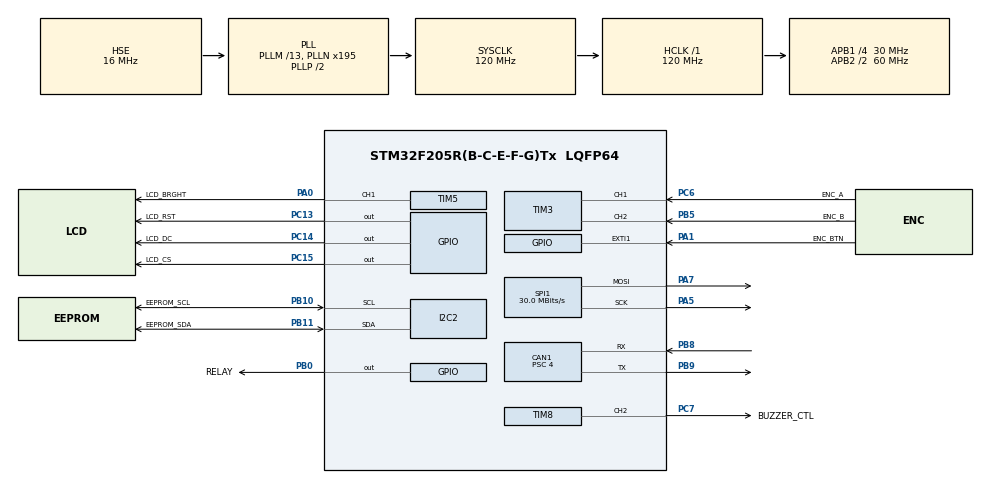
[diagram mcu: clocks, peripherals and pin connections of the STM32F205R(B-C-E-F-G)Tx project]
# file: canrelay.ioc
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CAN1.BS1=CAN_BS1_12TQ
CAN1.BS2=CAN_BS2_2TQ
CAN1.CalculateBaudRate=499999
CAN1.CalculateTimeBit=2000
CAN1.CalculateTimeQuantum=133.33333333333334
CAN1.Prescaler=4
Mcu.Family=STM32F2
Mcu.Name=STM32F205R(B-C-E-F-G)Tx
Mcu.Package=LQFP64
NVIC.CAN1_RX0_IRQn=true\:0\:0\:false\:false\:true\:true\:true\:true
NVIC.EXTI1_IRQn=true\:0\:0\:false\:false\:true\:true\:true\:true
NVIC.PriorityGroup=NVIC_PRIORITYGROUP_4
NVIC.TIM8_CC_IRQn=true\:0\:0\:false\:false\:true\:true\:true\:true
PA0-WKUP.GPIO_Label=LCD_BRGHT
PA0-WKUP.Signal=S_TIM5_CH1
PA1.GPIO_Label=ENC_BTN
PA1.GPIO_ModeDefaultEXTI=GPIO_MODE_IT_RISING_FALLING
PA1.Signal=GPXTI1
PA11.Signal=USB_OTG_FS_DM
PA12.Signal=USB_OTG_FS_DP
PA13.Mode=Serial_Wire
PA13.Signal=SYS_JTMS-SWDIO
PA14.Mode=Serial_Wire
PA14.Signal=SYS_JTCK-SWCLK
PA5.Mode=TX_Only_Simplex_Unidirect_Master
PA5.Signal=SPI1_SCK
PA7.Mode=TX_Only_Simplex_Unidirect_Master
PA7.Signal=SPI1_MOSI
PB0.GPIO_Label=RELAY
PB0.GPIO_PuPd=GPIO_PULLDOWN
PB0.GPIO_Speed=GPIO_SPEED_FREQ_VERY_HIGH
PB0.Signal=GPIO_Output
PB10.GPIO_Label=EEPROM_SCL
PB10.Mode=I2C
PB10.Signal=I2C2_SCL
PB11.GPIO_Label=EEPROM_SDA
PB11.Mode=I2C
PB11.Signal=I2C2_SDA
PB5.GPIO_Label=ENC_B
PB5.Signal=S_TIM3_CH2
PB8.Mode=CAN_Activate
PB8.Signal=CAN1_RX
PB9.Mode=CAN_Activate
PB9.Signal=CAN1_TX
PC13.GPIO_Label=LCD_RST
PC13.Signal=GPIO_Output
PC14-OSC32_IN.GPIO_Label=LCD_DC
PC14-OSC32_IN.Signal=GPIO_Output
PC15-OSC32_OUT.GPIO_Label=LCD_CS
PC15-OSC32_OUT.Signal=GPIO_Output
PC6.GPIO_Label=ENC_A
PC6.Signal=S_TIM3_CH1
PC7.GPIO_Label=BUZZER_CTL
PC7.Signal=S_TIM8_CH2
PH0-OSC_IN.Mode=HSE-External-Oscillator
PH0-OSC_IN.Signal=RCC_OSC_IN
PH1-OSC_OUT.Mode=HSE-External-Oscillator
PH1-OSC_OUT.Signal=RCC_OSC_OUT
ProjectManager.HeapSize=0x200
ProjectManager.StackSize=0x400
ProjectManager.TargetToolchain=STM32CubeIDE
RCC.48MHZClocksFreq_Value=48000000
RCC.AHBFreq_Value=120000000
RCC.APB1CLKDivider=RCC_HCLK_DIV4
RCC.APB1Freq_Value=30000000
RCC.APB1TimFreq_Value=60000000
RCC.APB2CLKDivider=RCC_HCLK_DIV2
RCC.APB2Freq_Value=60000000
RCC.APB2TimFreq_Value=120000000
RCC.CortexFreq_Value=120000000
RCC.HCLKFreq_Value=120000000
RCC.HSE_VALUE=16000000
RCC.HSI_VALUE=16000000
RCC.LSE_VALUE=32768
RCC.PLLM=13
RCC.PLLN=195
RCC.PLLQ=5
RCC.PLLSourceVirtual=RCC_PLLSOURCE_HSE
RCC.SYSCLKFreq_VALUE=120000000
RCC.SYSCLKSource=RCC_SYSCLKSOURCE_PLLCLK
RCC.VCOOutputFreq_Value=240000000
SH.S_TIM3_CH1.0=TIM3_CH1,Encoder_Interface
SH.S_TIM3_CH2.0=TIM3_CH2,Encoder_Interface
SH.S_TIM5_CH1.0=TIM5_CH1,PWM Generation1 CH1
SH.S_TIM8_CH2.0=TIM8_CH2,PWM Generation2 CH2
SPI1.BaudRatePrescaler=SPI_BAUDRATEPRESCALER_2
SPI1.CalculateBaudRate=30.0 MBits/s
SPI1.DataSize=SPI_DATASIZE_8BIT
SPI1.Direction=SPI_DIRECTION_2LINES
SPI1.Mode=SPI_MODE_MASTER
SPI1.VirtualType=VM_MASTER
TIM3.AutoReloadPreload=TIM_AUTORELOAD_PRELOAD_ENABLE
TIM3.EncoderMode=TIM_ENCODERMODE_TI12
TIM3.IC1Filter=5
TIM3.IC2Filter=5
TIM5.Channel-PWM\ Generation1\ CH1=TIM_CHANNEL_1
TIM5.Period=65535
TIM8.AutoReloadPreload=TIM_AUTORELOAD_PRELOAD_ENABLE
TIM8.Channel-PWM\ Generation2\ CH2=TIM_CHANNEL_2
TIM8.Period=999
TIM8.Prescaler=14
TIM8.Pulse-PWM\ Generation2\ CH2=499
board=custom

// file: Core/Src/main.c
/* USER CODE BEGIN Header */
/**
  ******************************************************************************
  * @file           : main.c
  * @brief          : Main program body
  ******************************************************************************
  * @attention
  *
  * Copyright (c) 2022 STMicroelectronics.
  * All rights reserved.
  *
  * This software is licensed under terms that can be found in the LICENSE file
  * in the root directory of this software component.
  * If no LICENSE file comes with this software, it is provided AS-IS.
  *
  ******************************************************************************
  */
/* USER CODE END Header */
#include "main.h"

/* USER CODE BEGIN Includes */
#include "../../lvgl/lvgl.h"
#include "lcd_lvgl.h"
#include "hw.h"
#include "ui.h"
#include "comm.h"
/* USER CODE END Includes */

CAN_HandleTypeDef hcan1;

I2C_HandleTypeDef hi2c2;

SPI_HandleTypeDef hspi1;

TIM_HandleTypeDef htim3;
TIM_HandleTypeDef htim5;
TIM_HandleTypeDef htim8;

void SystemClock_Config(void);
static void MX_GPIO_Init(void);
static void MX_SPI1_Init(void);
static void MX_TIM5_Init(void);
static void MX_CAN1_Init(void);
static void MX_TIM3_Init(void);
static void MX_TIM8_Init(void);
static void MX_I2C2_Init(void);

int main(void)
{

  /* MCU Configuration--------------------------------------------------------*/

  /* Reset of all peripherals, Initializes the Flash interface and the Systick. */
  HAL_Init();

  /* Configure the system clock */
  SystemClock_Config();

  /* Initialize all configured peripherals */
  MX_GPIO_Init();
  MX_SPI1_Init();
  MX_TIM5_Init();
  MX_CAN1_Init();
  MX_TIM3_Init();
  MX_TIM8_Init();
  MX_I2C2_Init();
  /* USER CODE BEGIN 2 */
  lv_init();
  HW_Init();
  LCD_Init();
  UI_Init();
  COMM_init();
  HW_LCDBacklightEnable();
  /* USER CODE END 2 */

  /* Infinite loop */
  /* USER CODE BEGIN WHILE */
  while (1)
  {
    HW_Tick();
    UI_Tick();
    LCD_Tick();
    /* USER CODE END WHILE */

  }
}

void SystemClock_Config(void)
{
  RCC_OscInitTypeDef RCC_OscInitStruct = {0};
  RCC_ClkInitTypeDef RCC_ClkInitStruct = {0};

  /** Initializes the RCC Oscillators according to the specified parameters
  * in the RCC_OscInitTypeDef structure.
  */
  RCC_OscInitStruct.OscillatorType = RCC_OSCILLATORTYPE_HSE;
  RCC_OscInitStruct.HSEState = RCC_HSE_ON;
  RCC_OscInitStruct.PLL.PLLState = RCC_PLL_ON;
  RCC_OscInitStruct.PLL.PLLSource = RCC_PLLSOURCE_HSE;
  RCC_OscInitStruct.PLL.PLLM = 13;
  RCC_OscInitStruct.PLL.PLLN = 195;
  RCC_OscInitStruct.PLL.PLLP = RCC_PLLP_DIV2;
  RCC_OscInitStruct.PLL.PLLQ = 5;
  if (HAL_RCC_OscConfig(&RCC_OscInitStruct) != HAL_OK)
  {
    Error_Handler();
  }

  /** Initializes the CPU, AHB and APB buses clocks
  */
  RCC_ClkInitStruct.ClockType = RCC_CLOCKTYPE_HCLK|RCC_CLOCKTYPE_SYSCLK
                              |RCC_CLOCKTYPE_PCLK1|RCC_CLOCKTYPE_PCLK2;
  RCC_ClkInitStruct.SYSCLKSource = RCC_SYSCLKSOURCE_PLLCLK;
  RCC_ClkInitStruct.AHBCLKDivider = RCC_SYSCLK_DIV1;
  RCC_ClkInitStruct.APB1CLKDivider = RCC_HCLK_DIV4;
  RCC_ClkInitStruct.APB2CLKDivider = RCC_HCLK_DIV2;

  if (HAL_RCC_ClockConfig(&RCC_ClkInitStruct, FLASH_LATENCY_3) != HAL_OK)
  {
    Error_Handler();
  }
}

static void MX_CAN1_Init(void)
{

  hcan1.Instance = CAN1;
  hcan1.Init.Prescaler = 4;
  hcan1.Init.Mode = CAN_MODE_NORMAL;
  hcan1.Init.SyncJumpWidth = CAN_SJW_1TQ;
  hcan1.Init.TimeSeg1 = CAN_BS1_12TQ;
  hcan1.Init.TimeSeg2 = CAN_BS2_2TQ;
  hcan1.Init.TimeTriggeredMode = DISABLE;
  hcan1.Init.AutoBusOff = DISABLE;
  hcan1.Init.AutoWakeUp = DISABLE;
  hcan1.Init.AutoRetransmission = DISABLE;
  hcan1.Init.ReceiveFifoLocked = DISABLE;
  hcan1.Init.TransmitFifoPriority = DISABLE;
  if (HAL_CAN_Init(&hcan1) != HAL_OK)
  {
    Error_Handler();
  }
  /* USER CODE BEGIN CAN1_Init 2 */
  COMM_setupCANFilter();
  /* USER CODE END CAN1_Init 2 */

}

static void MX_I2C2_Init(void)
{

  hi2c2.Instance = I2C2;
  hi2c2.Init.ClockSpeed = 100000;
  hi2c2.Init.DutyCycle = I2C_DUTYCYCLE_2;
  hi2c2.Init.OwnAddress1 = 0;
  hi2c2.Init.AddressingMode = I2C_ADDRESSINGMODE_7BIT;
  hi2c2.Init.DualAddressMode = I2C_DUALADDRESS_DISABLE;
  hi2c2.Init.OwnAddress2 = 0;
  hi2c2.Init.GeneralCallMode = I2C_GENERALCALL_DISABLE;
  hi2c2.Init.NoStretchMode = I2C_NOSTRETCH_DISABLE;
  if (HAL_I2C_Init(&hi2c2) != HAL_OK)
  {
    Error_Handler();
  }

}

static void MX_SPI1_Init(void)
{

  /* SPI1 parameter configuration*/
  hspi1.Instance = SPI1;
  hspi1.Init.Mode = SPI_MODE_MASTER;
  hspi1.Init.Direction = SPI_DIRECTION_2LINES;
  hspi1.Init.DataSize = SPI_DATASIZE_8BIT;
  hspi1.Init.CLKPolarity = SPI_POLARITY_LOW;
  hspi1.Init.CLKPhase = SPI_PHASE_1EDGE;
  hspi1.Init.NSS = SPI_NSS_SOFT;
  hspi1.Init.BaudRatePrescaler = SPI_BAUDRATEPRESCALER_2;
  hspi1.Init.FirstBit = SPI_FIRSTBIT_MSB;
  hspi1.Init.TIMode = SPI_TIMODE_DISABLE;
  hspi1.Init.CRCCalculation = SPI_CRCCALCULATION_DISABLE;
  hspi1.Init.CRCPolynomial = 10;
  if (HAL_SPI_Init(&hspi1) != HAL_OK)
  {
    Error_Handler();
  }

}

static void MX_TIM3_Init(void)
{

  TIM_Encoder_InitTypeDef sConfig = {0};
  TIM_MasterConfigTypeDef sMasterConfig = {0};

  htim3.Instance = TIM3;
  htim3.Init.Prescaler = 0;
  htim3.Init.CounterMode = TIM_COUNTERMODE_UP;
  htim3.Init.Period = 65535;
  htim3.Init.ClockDivision = TIM_CLOCKDIVISION_DIV1;
  htim3.Init.AutoReloadPreload = TIM_AUTORELOAD_PRELOAD_ENABLE;
  sConfig.EncoderMode = TIM_ENCODERMODE_TI12;
  sConfig.IC1Polarity = TIM_ICPOLARITY_RISING;
  sConfig.IC1Selection = TIM_ICSELECTION_DIRECTTI;
  sConfig.IC1Prescaler = TIM_ICPSC_DIV1;
  sConfig.IC1Filter = 5;
  sConfig.IC2Polarity = TIM_ICPOLARITY_RISING;
  sConfig.IC2Selection = TIM_ICSELECTION_DIRECTTI;
  sConfig.IC2Prescaler = TIM_ICPSC_DIV1;
  sConfig.IC2Filter = 5;
  if (HAL_TIM_Encoder_Init(&htim3, &sConfig) != HAL_OK)
  {
    Error_Handler();
  }
  sMasterConfig.MasterOutputTrigger = TIM_TRGO_RESET;
  sMasterConfig.MasterSlaveMode = TIM_MASTERSLAVEMODE_DISABLE;
  if (HAL_TIMEx_MasterConfigSynchronization(&htim3, &sMasterConfig) != HAL_OK)
  {
    Error_Handler();
  }

}

static void MX_TIM5_Init(void)
{

  TIM_MasterConfigTypeDef sMasterConfig = {0};
  TIM_OC_InitTypeDef sConfigOC = {0};

  htim5.Instance = TIM5;
  htim5.Init.Prescaler = 0;
  htim5.Init.CounterMode = TIM_COUNTERMODE_UP;
  htim5.Init.Period = 65535;
  htim5.Init.ClockDivision = TIM_CLOCKDIVISION_DIV1;
  htim5.Init.AutoReloadPreload = TIM_AUTORELOAD_PRELOAD_DISABLE;
  if (HAL_TIM_PWM_Init(&htim5) != HAL_OK)
  {
    Error_Handler();
  }
  sMasterConfig.MasterOutputTrigger = TIM_TRGO_RESET;
  sMasterConfig.MasterSlaveMode = TIM_MASTERSLAVEMODE_DISABLE;
  if (HAL_TIMEx_MasterConfigSynchronization(&htim5, &sMasterConfig) != HAL_OK)
  {
    Error_Handler();
  }
  sConfigOC.OCMode = TIM_OCMODE_PWM1;
  sConfigOC.Pulse = 0;
  sConfigOC.OCPolarity = TIM_OCPOLARITY_HIGH;
  sConfigOC.OCFastMode = TIM_OCFAST_DISABLE;
  if (HAL_TIM_PWM_ConfigChannel(&htim5, &sConfigOC, TIM_CHANNEL_1) != HAL_OK)
  {
    Error_Handler();
  }
  HAL_TIM_MspPostInit(&htim5);

}

static void MX_TIM8_Init(void)
{

  TIM_MasterConfigTypeDef sMasterConfig = {0};
  TIM_OC_InitTypeDef sConfigOC = {0};
  TIM_BreakDeadTimeConfigTypeDef sBreakDeadTimeConfig = {0};

  htim8.Instance = TIM8;
  htim8.Init.Prescaler = 14;
  htim8.Init.CounterMode = TIM_COUNTERMODE_UP;
  htim8.Init.Period = 999;
  htim8.Init.ClockDivision = TIM_CLOCKDIVISION_DIV1;
  htim8.Init.RepetitionCounter = 0;
  htim8.Init.AutoReloadPreload = TIM_AUTORELOAD_PRELOAD_ENABLE;
  if (HAL_TIM_PWM_Init(&htim8) != HAL_OK)
  {
    Error_Handler();
  }
  sMasterConfig.MasterOutputTrigger = TIM_TRGO_RESET;
  sMasterConfig.MasterSlaveMode = TIM_MASTERSLAVEMODE_DISABLE;
  if (HAL_TIMEx_MasterConfigSynchronization(&htim8, &sMasterConfig) != HAL_OK)
  {
    Error_Handler();
  }
  sConfigOC.OCMode = TIM_OCMODE_PWM1;
  sConfigOC.Pulse = 499;
  sConfigOC.OCPolarity = TIM_OCPOLARITY_HIGH;
  sConfigOC.OCNPolarity = TIM_OCNPOLARITY_HIGH;
  sConfigOC.OCFastMode = TIM_OCFAST_DISABLE;
  sConfigOC.OCIdleState = TIM_OCIDLESTATE_RESET;
  sConfigOC.OCNIdleState = TIM_OCNIDLESTATE_RESET;
  if (HAL_TIM_PWM_ConfigChannel(&htim8, &sConfigOC, TIM_CHANNEL_2) != HAL_OK)
  {
    Error_Handler();
  }
  sBreakDeadTimeConfig.OffStateRunMode = TIM_OSSR_DISABLE;
  sBreakDeadTimeConfig.OffStateIDLEMode = TIM_OSSI_DISABLE;
  sBreakDeadTimeConfig.LockLevel = TIM_LOCKLEVEL_OFF;
  sBreakDeadTimeConfig.DeadTime = 0;
  sBreakDeadTimeConfig.BreakState = TIM_BREAK_DISABLE;
  sBreakDeadTimeConfig.BreakPolarity = TIM_BREAKPOLARITY_HIGH;
  sBreakDeadTimeConfig.AutomaticOutput = TIM_AUTOMATICOUTPUT_DISABLE;
  if (HAL_TIMEx_ConfigBreakDeadTime(&htim8, &sBreakDeadTimeConfig) != HAL_OK)
  {
    Error_Handler();
  }
  HAL_TIM_MspPostInit(&htim8);

}

static void MX_GPIO_Init(void)
{
  GPIO_InitTypeDef GPIO_InitStruct = {0};

  /* GPIO Ports Clock Enable */
  __HAL_RCC_GPIOC_CLK_ENABLE();
  __HAL_RCC_GPIOH_CLK_ENABLE();
  __HAL_RCC_GPIOA_CLK_ENABLE();
  __HAL_RCC_GPIOB_CLK_ENABLE();

  /*Configure GPIO pin Output Level */
  HAL_GPIO_WritePin(GPIOC, LCD_RST_Pin|LCD_DC_Pin|LCD_CS_Pin, GPIO_PIN_RESET);

  /*Configure GPIO pin Output Level */
  HAL_GPIO_WritePin(RELAY_GPIO_Port, RELAY_Pin, GPIO_PIN_RESET);

  /*Configure GPIO pins : LCD_RST_Pin LCD_DC_Pin LCD_CS_Pin */
  GPIO_InitStruct.Pin = LCD_RST_Pin|LCD_DC_Pin|LCD_CS_Pin;
  GPIO_InitStruct.Mode = GPIO_MODE_OUTPUT_PP;
  GPIO_InitStruct.Pull = GPIO_NOPULL;
  GPIO_InitStruct.Speed = GPIO_SPEED_FREQ_LOW;
  HAL_GPIO_Init(GPIOC, &GPIO_InitStruct);

  /*Configure GPIO pin : ENC_BTN_Pin */
  GPIO_InitStruct.Pin = ENC_BTN_Pin;
  GPIO_InitStruct.Mode = GPIO_MODE_IT_RISING_FALLING;
  GPIO_InitStruct.Pull = GPIO_NOPULL;
  HAL_GPIO_Init(ENC_BTN_GPIO_Port, &GPIO_InitStruct);

  /*Configure GPIO pin : RELAY_Pin */
  GPIO_InitStruct.Pin = RELAY_Pin;
  GPIO_InitStruct.Mode = GPIO_MODE_OUTPUT_PP;
  GPIO_InitStruct.Pull = GPIO_PULLDOWN;
  GPIO_InitStruct.Speed = GPIO_SPEED_FREQ_VERY_HIGH;
  HAL_GPIO_Init(RELAY_GPIO_Port, &GPIO_InitStruct);

  /*Configure GPIO pins : PA11 PA12 */
  GPIO_InitStruct.Pin = GPIO_PIN_11|GPIO_PIN_12;
  GPIO_InitStruct.Mode = GPIO_MODE_AF_PP;
  GPIO_InitStruct.Pull = GPIO_NOPULL;
  GPIO_InitStruct.Speed = GPIO_SPEED_FREQ_VERY_HIGH;
  GPIO_InitStruct.Alternate = GPIO_AF10_OTG_FS;
  HAL_GPIO_Init(GPIOA, &GPIO_InitStruct);

  /* EXTI interrupt init*/
  HAL_NVIC_SetPriority(EXTI1_IRQn, 0, 0);
  HAL_NVIC_EnableIRQ(EXTI1_IRQn);

}

void Error_Handler(void)
{
  __disable_irq();
  while (1)
  {
  }
}
